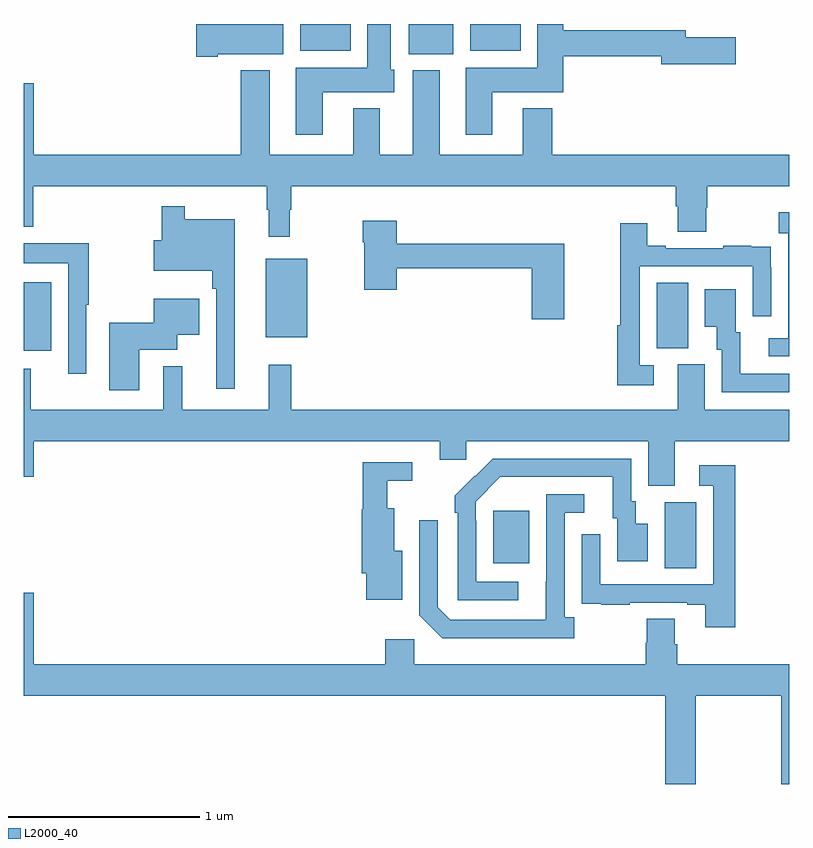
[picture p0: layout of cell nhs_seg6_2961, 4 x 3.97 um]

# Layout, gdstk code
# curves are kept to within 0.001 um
import gdstk
lib = gdstk.Library(unit=1e-6, precision=1e-09)
def R(c, l, rs):  # rectangles x0, y0, x1, y1
    for r in rs: c.add(gdstk.rectangle(r[:2], r[2:], *l))
def P(c, l, *ps):  # polygons
    for p in ps: c.add(gdstk.Polygon(p, *l))
L2000_40 = (2000, 40)

nhs_seg6_2961 = lib.new_cell('nhs_seg6_2961')
R(nhs_seg6_2961, L2000_40, [(288.35,962.656,288.514,963), (287.453,962.681,287.641,962.956), (285,963.792,285.142,964.15), (288.308,963.805,288.472,964.148), (286.265,963.863,286.48,964.273), (287.012,965.342,287.245,965.5), (286.445,965.36,286.708,965.5), (287.333,965.36,287.596,965.5)])
P(nhs_seg6_2961, L2000_40, [(287.449,965.144),(287.819,965.144),(287.819,965.332),(288.332,965.332),(288.332,965.29),(288.721,965.29),(288.721,965.432),(288.46,965.432),(288.46,965.468),(287.819,965.468),(287.819,965.5),(287.684,965.5),(287.684,965.272),(287.309,965.272),(287.309,964.92),(287.449,964.92)],
  [(286.012,965.342),(286.357,965.342),(286.357,965.5),(285.9,965.5),(285.9,965.33),(286.012,965.33)],
  [(286.561,965.144),(286.936,965.144),(286.936,965.262),(286.918,965.262),(286.918,965.5),(286.796,965.5),(286.796,965.272),(286.421,965.272),(286.421,964.92),(286.561,964.92)],
  [(286.39,964.529),(286.397,964.529),(286.397,964.652),(288.407,964.652),(288.407,964.546),(288.419,964.546),(288.419,964.414),(288.567,964.414),(288.567,964.539),(288.572,964.539),(288.572,964.652),(289,964.652),(289,964.816),(287.762,964.816),(287.762,965.059),(287.609,965.059),(287.609,964.816),(287.173,964.816),(287.173,965.257),(287.033,965.257),(287.033,964.816),(286.861,964.816),(286.861,965.059),(286.721,965.059),(286.721,964.816),(286.285,964.816),(286.285,965.257),(286.133,965.257),(286.133,964.816),(285.052,964.816),(285.052,965.191),(285,965.191),(285,964.439),(285.05,964.439),(285.05,964.652),(286.269,964.652),(286.269,964.529),(286.28,964.529),(286.28,964.389),(286.39,964.389)],
  [(286.102,964.48),(285.841,964.48),(285.841,964.546),(285.72,964.546),(285.72,964.369),(285.678,964.369),(285.678,964.211),(285.985,964.211),(285.985,964.115),(286.005,964.115),(286.005,963.594),(286.102,963.594)],
  [(289,964.516),(288.945,964.516),(288.945,964.406),(288.996,964.406),(288.996,963.858),(288.894,963.858),(288.894,963.762),(289,963.762)],
  [(287.824,964.351),(286.949,964.351),(286.949,964.471),(286.771,964.471),(286.771,964.358),(286.778,964.358),(286.778,964.11),(286.949,964.11),(286.949,964.222),(287.654,964.222),(287.654,963.957),(287.824,963.957)],
  [(288.292,963.717),(288.219,963.717),(288.219,964.233),(288.81,964.233),(288.81,963.972),(288.906,963.972),(288.906,964.226),(288.905,964.226),(288.905,964.335),(288.803,964.335),(288.803,964.342),(288.655,964.342),(288.655,964.329),(288.355,964.329),(288.355,964.342),(288.259,964.342),(288.259,964.459),(288.118,964.459),(288.118,963.924),(288.103,963.924),(288.103,963.612),(288.292,963.612)],
  [(285.327,964.033),(285.34,964.033),(285.34,964.354),(285,964.354),(285,964.25),(285.231,964.25),(285.231,963.672),(285.327,963.672)],
  [(289,963.672),(288.745,963.672),(288.745,963.888),(288.721,963.888),(288.721,964.114),(288.56,964.114),(288.56,963.917),(288.623,963.917),(288.623,963.798),(288.648,963.798),(288.648,963.576),(289,963.576)],
  [(285.604,963.797),(285.802,963.797),(285.802,963.875),(285.916,963.875),(285.916,964.063),(285.68,964.063),(285.68,963.937),(285.446,963.937),(285.446,963.585),(285.604,963.585)],
  [(288.403,963.32),(289,963.32),(289,963.484),(288.559,963.484),(288.559,963.72),(288.419,963.72),(288.419,963.484),(286.397,963.484),(286.397,963.718),(286.28,963.718),(286.28,963.484),(285.827,963.484),(285.827,963.712),(285.729,963.712),(285.729,963.484),(285.037,963.484),(285.037,963.697),(285,963.697),(285,963.132),(285.052,963.132),(285.052,963.32),(287.174,963.32),(287.174,963.222),(287.313,963.222),(287.313,963.32),(288.263,963.32),(288.263,963.085),(288.403,963.085)],
  [(287.584,962.583),(287.364,962.583),(287.364,962.903),(287.361,962.903),(287.361,963.003),(287.49,963.132),(288.077,963.132),(288.077,962.916),(288.101,962.916),(288.101,962.691),(288.262,962.691),(288.262,962.887),(288.199,962.887),(288.199,963.006),(288.174,963.006),(288.174,963.228),(287.45,963.228),(287.253,963.033),(287.253,962.945),(287.268,962.945),(287.268,962.487),(287.584,962.487)],
  [(286.978,962.746),(286.936,962.746),(286.936,962.968),(286.9,962.968),(286.9,963.113),(287.029,963.113),(287.029,963.21),(286.771,963.21),(286.771,962.964),(286.766,962.964),(286.766,962.628),(286.79,962.628),(286.79,962.489),(286.978,962.489)],
  [(288.719,963.193),(288.531,963.193),(288.531,963.087),(288.603,963.087),(288.603,962.571),(288.012,962.571),(288.012,962.833),(287.916,962.833),(287.916,962.578),(287.917,962.578),(287.917,962.469),(288.019,962.469),(288.019,962.463),(288.167,962.463),(288.167,962.475),(288.467,962.475),(288.467,962.463),(288.563,962.463),(288.563,962.346),(288.719,962.346)],
  [(287.878,962.398),(287.826,962.398),(287.826,962.946),(287.929,962.946),(287.929,963.042),(287.73,963.042),(287.729,962.385),(287.229,962.385),(287.163,962.451),(287.163,962.905),(287.067,962.905),(287.067,962.409),(287.188,962.288),(287.878,962.288)],
  [(288.416,962.258),(288.403,962.258),(288.403,962.39),(288.256,962.39),(288.256,962.265),(288.251,962.265),(288.251,962.152),(287.04,962.152),(287.04,962.284),(286.889,962.284),(286.889,962.152),(285.052,962.152),(285.052,962.527),(285,962.527),(285,961.988),(288.353,961.988),(288.353,961.527),(288.513,961.527),(288.513,961.988),(288.958,961.988),(288.958,961.527),(289,961.527),(289,962.152),(288.416,962.152)])

lib.write_gds('nhs_seg6_2961.gds')
